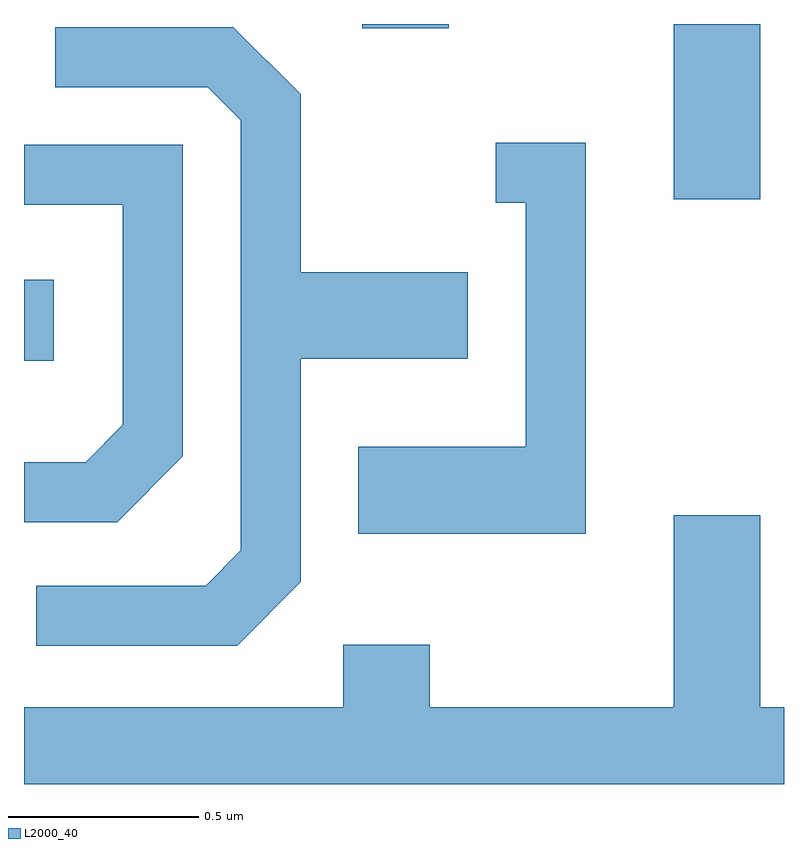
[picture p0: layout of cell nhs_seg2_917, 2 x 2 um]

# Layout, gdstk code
import gdstk
lib = gdstk.Library(unit=1e-6, precision=1e-09)
def R(c, l, rs):  # rectangles x0, y0, x1, y1
    for r in rs: c.add(gdstk.rectangle(r[:2], r[2:], *l))
def P(c, l, *ps):  # polygons
    for p in ps: c.add(gdstk.Polygon(p, *l))
L2000_40 = (2000, 40)

nhs_seg2_917 = lib.new_cell('nhs_seg2_917')
R(nhs_seg2_917, L2000_40, [(191.611,1073.916,191.689,1074.129), (193.321,1074.341,193.549,1074.802), (192.501,1074.791,192.729,1074.802)])
P(nhs_seg2_917, L2000_40, [(192.339,1073.334),(192.339,1073.921),(192.779,1073.921),(192.779,1074.149),(192.339,1074.149),(192.339,1074.617),(192.162,1074.794),(191.693,1074.794),(191.693,1074.636),(192.094,1074.636),(192.181,1074.549),(192.181,1073.417),(192.089,1073.324),(191.643,1073.324),(191.643,1073.166),(192.172,1073.166)],
  [(193.089,1074.489),(192.853,1074.489),(192.853,1074.331),(192.931,1074.331),(192.931,1073.689),(192.491,1073.689),(192.491,1073.461),(193.089,1073.461)],
  [(192.029,1073.664),(192.029,1074.484),(191.611,1074.484),(191.611,1074.326),(191.871,1074.326),(191.871,1073.747),(191.774,1073.649),(191.611,1073.649),(191.611,1073.491),(191.857,1073.491)],
  [(193.611,1073.004),(193.549,1073.004),(193.549,1073.509),(193.321,1073.509),(193.321,1073.004),(192.679,1073.004),(192.679,1073.169),(192.451,1073.169),(192.451,1073.004),(191.611,1073.004),(191.611,1072.802),(193.611,1072.802)])

lib.write_gds('nhs_seg2_917.gds')
